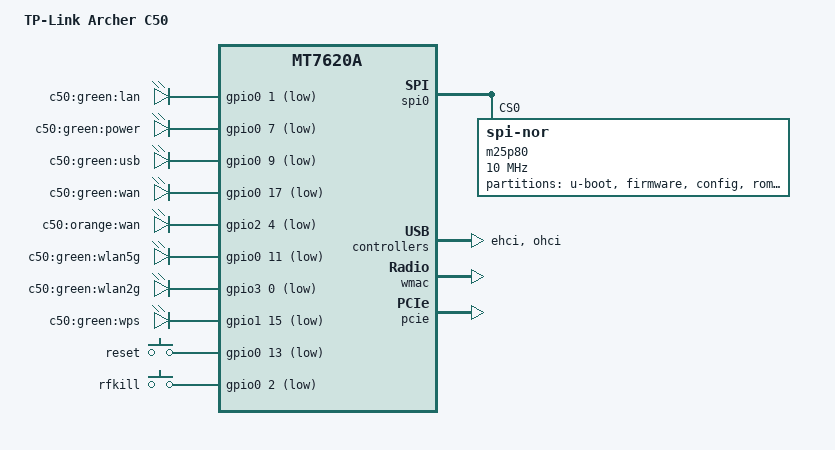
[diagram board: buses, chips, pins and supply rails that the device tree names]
/dts-v1/;

#include "mt7620a.dtsi"

#include <dt-bindings/input/input.h>
#include <dt-bindings/gpio/gpio.h>

/ {
	compatible = "tplink,c50", "ralink,mt7620a-soc";
	model = "TP-Link Archer C50";

	aliases {
		led-boot = &led_power;
		led-failsafe = &led_power;
		led-running = &led_power;
		led-upgrade = &led_power;
	};

	chosen {
		bootargs = "console=ttyS0,115200";
	};

	leds {
		compatible = "gpio-leds";

		lan {
			label = "c50:green:lan";
			gpios = <&gpio0 1 GPIO_ACTIVE_LOW>;
		};

		led_power: power {
			label = "c50:green:power";
			gpios = <&gpio0 7 GPIO_ACTIVE_LOW>;
			default-state = "on";
		};

		usb {
			label = "c50:green:usb";
			gpios = <&gpio0 9 GPIO_ACTIVE_LOW>;
			trigger-sources = <&ohci_port1>, <&ehci_port1>;
			linux,default-trigger = "usbport";
		};

		wan {
			label = "c50:green:wan";
			gpios = <&gpio0 17 GPIO_ACTIVE_LOW>;
		};

		wan_orange {
			label = "c50:orange:wan";
			gpios = <&gpio2 4 GPIO_ACTIVE_LOW>;
		};

		wlan5g {
			label = "c50:green:wlan5g";
			gpios = <&gpio0 11 GPIO_ACTIVE_LOW>;
		};

		wlan2g {
			label = "c50:green:wlan2g";
			gpios = <&gpio3 0 GPIO_ACTIVE_LOW>;
		};

		wps {
			label = "c50:green:wps";
			gpios = <&gpio1 15 GPIO_ACTIVE_LOW>;
		};
	};

	keys {
		compatible = "gpio-keys-polled";
		poll-interval = <20>;

		reset {
			label = "reset";
			gpios = <&gpio0 13 GPIO_ACTIVE_LOW>;
			linux,code = <KEY_RESTART>;
		};

		rfkill {
			label = "rfkill";
			gpios = <&gpio0 2 GPIO_ACTIVE_LOW>;
			linux,code = <KEY_RFKILL>;
		};	};
};

&gpio1 {
	status = "okay";
};

&gpio2 {
	status = "okay";
};

&gpio3 {
	status = "okay";
};

&spi0 {
	status = "okay";

	m25p80@0 {
		compatible = "jedec,spi-nor";
		reg = <0>;
		spi-max-frequency = <10000000>;

		partitions {
			compatible = "fixed-partitions";
			#address-cells = <1>;
			#size-cells = <1>;

			partition@0 {
				label = "u-boot";
				reg = <0x0 0x20000>;
				read-only;
			};

			partition@20000 {
				compatible = "tplink,firmware";
				label = "firmware";
				reg = <0x20000 0x7a0000>;
			};

			partition@7c0000 {
				label = "config";
				reg = <0x7c0000 0x10000>;
				read-only;
			};

			rom: partition@7d0000 {
				label = "rom";
				reg = <0x7d0000 0x10000>;
				read-only;
			};

			partition@7e0000 {
				label = "romfile";
				reg = <0x7e0000 0x10000>;
				read-only;
			};

			radio: partition@7f0000 {
				label = "radio";
				reg = <0x7f0000 0x10000>;
				read-only;
			};
		};
	};
};

&pinctrl {
	state_default: pinctrl0 {
		gpio {
			ralink,group = "i2c", "uartf", "rgmii1", "rgmii2", "wled", "ephy", "spi refclk", "mdio", "wdt", "nd_sd";
			ralink,function = "gpio";
		};
	};
};

&ethernet {
		pinctrl-names = "default";
		mtd-mac-address = <&rom 0xf100>;
		mediatek,portmap = "wllll";
	};

&ehci {
	status = "okay";
};

&ohci {
	status = "okay";
};

&gsw {
	mediatek,port4 = "ephy";
};

&wmac {
	ralink,mtd-eeprom = <&radio 0>;
	mtd-mac-address = <&rom 0xf100>;
	mtd-mac-address-increment = <(-2)>;
	pinctrl-names = "default";
	pinctrl-0 = <&pa_pins>;
};

&pcie {
	status = "okay";
};

&pcie0 {
	mt76@0,0 {
		reg = <0x0000 0 0 0 0>;
		mediatek,mtd-eeprom = <&radio 32768>;
		ieee80211-freq-limit = <5000000 6000000>;
		mtd-mac-address = <&rom 0xf100>;
		mtd-mac-address-increment = <(-1)>;
	};
};
